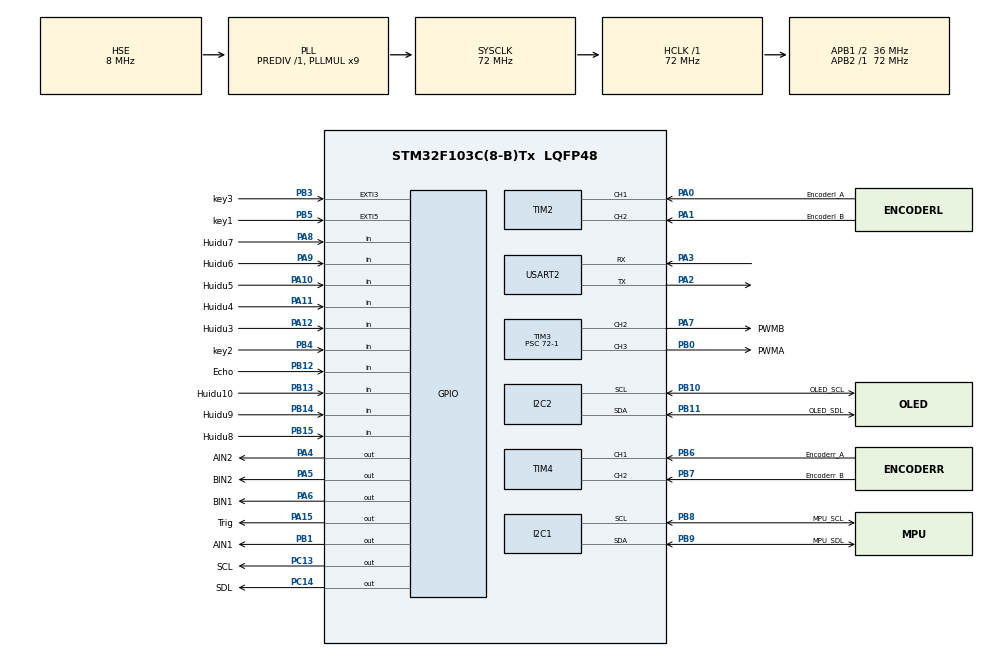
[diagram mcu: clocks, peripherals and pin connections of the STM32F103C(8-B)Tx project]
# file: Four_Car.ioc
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Dma.Request0=USART2_RX
Dma.Request1=USART2_TX
Dma.USART2_RX.0.Direction=DMA_PERIPH_TO_MEMORY
Dma.USART2_RX.0.Instance=DMA1_Channel6
Dma.USART2_RX.0.MemDataAlignment=DMA_MDATAALIGN_BYTE
Dma.USART2_RX.0.MemInc=DMA_MINC_ENABLE
Dma.USART2_RX.0.Mode=DMA_NORMAL
Dma.USART2_RX.0.PeriphDataAlignment=DMA_PDATAALIGN_BYTE
Dma.USART2_RX.0.PeriphInc=DMA_PINC_DISABLE
Dma.USART2_RX.0.Priority=DMA_PRIORITY_LOW
Dma.USART2_TX.1.Direction=DMA_MEMORY_TO_PERIPH
Dma.USART2_TX.1.Instance=DMA1_Channel7
Dma.USART2_TX.1.MemDataAlignment=DMA_MDATAALIGN_BYTE
Dma.USART2_TX.1.MemInc=DMA_MINC_ENABLE
Dma.USART2_TX.1.Mode=DMA_NORMAL
Dma.USART2_TX.1.PeriphDataAlignment=DMA_PDATAALIGN_BYTE
Dma.USART2_TX.1.PeriphInc=DMA_PINC_DISABLE
Dma.USART2_TX.1.Priority=DMA_PRIORITY_LOW
I2C1.I2C_Mode=I2C_Fast
I2C2.I2C_Mode=I2C_Fast
Mcu.Family=STM32F1
Mcu.Name=STM32F103C(8-B)Tx
Mcu.Package=LQFP48
NVIC.DMA1_Channel6_IRQn=true\:0\:0\:false\:false\:true\:false\:true\:true
NVIC.DMA1_Channel7_IRQn=true\:0\:0\:false\:false\:true\:false\:true\:true
NVIC.EXTI3_IRQn=true\:0\:0\:false\:false\:true\:true\:true\:true
NVIC.EXTI9_5_IRQn=true\:0\:0\:false\:false\:true\:true\:true\:true
NVIC.PriorityGroup=NVIC_PRIORITYGROUP_4
NVIC.TIM1_UP_IRQn=true\:0\:0\:false\:false\:true\:true\:true\:true
NVIC.USART2_IRQn=true\:0\:0\:false\:false\:true\:true\:true\:true
PA0-WKUP.GPIO_Label=Encoderl_A
PA0-WKUP.Signal=S_TIM2_CH1_ETR
PA1.GPIO_Label=Encoderl_B
PA1.Signal=S_TIM2_CH2
PA10.GPIO_Label=Huidu5
PA10.GPIO_PuPd=GPIO_PULLUP
PA10.Signal=GPIO_Input
PA11.GPIO_Label=Huidu4
PA11.GPIO_PuPd=GPIO_PULLUP
PA11.Signal=GPIO_Input
PA12.GPIO_Label=Huidu3
PA12.GPIO_PuPd=GPIO_PULLUP
PA12.Signal=GPIO_Input
PA13.Mode=Serial_Wire
PA13.Signal=SYS_JTMS-SWDIO
PA14.Mode=Serial_Wire
PA14.Signal=SYS_JTCK-SWCLK
PA15.GPIO_Label=Trig
PA15.Signal=GPIO_Output
PA2.Mode=Asynchronous
PA2.Signal=USART2_TX
PA3.Mode=Asynchronous
PA3.Signal=USART2_RX
PA4.GPIO_Label=AIN2
PA4.Signal=GPIO_Output
PA5.GPIO_Label=BIN2
PA5.Signal=GPIO_Output
PA6.GPIO_Label=BIN1
PA6.Signal=GPIO_Output
PA7.GPIO_Label=PWMB
PA7.Signal=S_TIM3_CH2
PA8.GPIO_Label=Huidu7
PA8.GPIO_PuPd=GPIO_PULLUP
PA8.Signal=GPIO_Input
PA9.GPIO_Label=Huidu6
PA9.GPIO_PuPd=GPIO_PULLUP
PA9.Signal=GPIO_Input
PB0.GPIO_Label=PWMA
PB0.Signal=S_TIM3_CH3
PB1.GPIO_Label=AIN1
PB1.Signal=GPIO_Output
PB10.GPIO_Label=OLED_SCL
PB10.Mode=I2C
PB10.Signal=I2C2_SCL
PB11.GPIO_Label=OLED_SDL
PB11.Mode=I2C
PB11.Signal=I2C2_SDA
PB12.GPIO_Label=Echo
PB12.Signal=GPIO_Input
PB13.GPIO_Label=Huidu10
PB13.GPIO_PuPd=GPIO_PULLUP
PB13.Signal=GPIO_Input
PB14.GPIO_Label=Huidu9
PB14.GPIO_PuPd=GPIO_PULLUP
PB14.Signal=GPIO_Input
PB15.GPIO_Label=Huidu8
PB15.GPIO_PuPd=GPIO_PULLUP
PB15.Signal=GPIO_Input
PB3.GPIO_Label=key3
PB3.GPIO_ModeDefaultEXTI=GPIO_MODE_IT_FALLING
PB3.GPIO_PuPd=GPIO_PULLUP
PB3.Signal=GPXTI3
PB4.GPIO_Label=key2
PB4.GPIO_PuPd=GPIO_PULLUP
PB4.Signal=GPIO_Input
PB5.GPIO_Label=key1
PB5.GPIO_ModeDefaultEXTI=GPIO_MODE_IT_FALLING
PB5.GPIO_PuPd=GPIO_PULLUP
PB5.Signal=GPXTI5
PB6.GPIO_Label=Encoderr_A
PB6.Signal=S_TIM4_CH1
PB7.GPIO_Label=Encoderr_B
PB7.Signal=S_TIM4_CH2
PB8.GPIO_Label=MPU_SCL
PB8.Mode=I2C
PB8.Signal=I2C1_SCL
PB9.GPIO_Label=MPU_SDL
PB9.Mode=I2C
PB9.Signal=I2C1_SDA
PC13-TAMPER-RTC.GPIO_Label=SCL
PC13-TAMPER-RTC.Signal=GPIO_Output
PC14-OSC32_IN.GPIO_Label=SDL
PC14-OSC32_IN.Signal=GPIO_Output
PD0-OSC_IN.Mode=HSE-External-Oscillator
PD0-OSC_IN.Signal=RCC_OSC_IN
PD1-OSC_OUT.Mode=HSE-External-Oscillator
PD1-OSC_OUT.Signal=RCC_OSC_OUT
ProjectManager.HeapSize=0x200
ProjectManager.StackSize=0x400
ProjectManager.TargetToolchain=CMake
RCC.AHBFreq_Value=72000000
RCC.APB1CLKDivider=RCC_HCLK_DIV2
RCC.APB1Freq_Value=36000000
RCC.APB1TimFreq_Value=72000000
RCC.APB2Freq_Value=72000000
RCC.APB2TimFreq_Value=72000000
RCC.HCLKFreq_Value=72000000
RCC.PLLMUL=RCC_PLL_MUL9
RCC.PLLSourceVirtual=RCC_PLLSOURCE_HSE
RCC.SYSCLKFreq_VALUE=72000000
RCC.SYSCLKSource=RCC_SYSCLKSOURCE_PLLCLK
RCC.USBFreq_Value=72000000
SH.S_TIM2_CH1_ETR.0=TIM2_CH1,Encoder_Interface
SH.S_TIM2_CH2.0=TIM2_CH2,Encoder_Interface
SH.S_TIM3_CH2.0=TIM3_CH2,PWM Generation2 CH2
SH.S_TIM3_CH3.0=TIM3_CH3,PWM Generation3 CH3
SH.S_TIM4_CH1.0=TIM4_CH1,Encoder_Interface
SH.S_TIM4_CH2.0=TIM4_CH2,Encoder_Interface
TIM1.Period=1000-1
TIM1.Prescaler=72-1
TIM2.IC1Filter=15
TIM2.IC1Polarity=TIM_ICPOLARITY_FALLING
TIM2.IC2Filter=15
TIM3.Channel-PWM\ Generation2\ CH2=TIM_CHANNEL_2
TIM3.Channel-PWM\ Generation3\ CH3=TIM_CHANNEL_3
TIM3.Period=100-1
TIM3.Prescaler=72-1
TIM4.IC1Filter=15
TIM4.IC2Filter=15
USART2.VirtualMode=VM_ASYNC
VP_TIM1_VS_ClockSourceINT.Mode=Internal
VP_TIM3_VS_ClockSourceINT.Mode=Internal
board=custom

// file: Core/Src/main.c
/* USER CODE BEGIN Header */
/**
  ******************************************************************************
  * @file           : main.c
  * @brief          : Main program body
  ******************************************************************************
  * @attention
  *
  * Copyright (c) 2026 STMicroelectronics.
  * All rights reserved.
  *
  * This software is licensed under terms that can be found in the LICENSE file
  * in the root directory of this software component.
  * If no LICENSE file comes with this software, it is provided AS-IS.
  *
  ******************************************************************************
  */
/* USER CODE END Header */
#include "main.h"
#include "dma.h"
#include "i2c.h"
#include "tim.h"
#include "usart.h"
#include "gpio.h"

/* USER CODE BEGIN Includes */
#include "oled.h"
#include <stdint.h>
#include <stdio.h>
#include "motor.h"
#include "hcsr04.h"
#include <string.h>
#include <sys/_intsup.h>
#include "encoder.h"
#include "pid.h"
#include "mpu6050.h"
#include "control.h"
#include "track.h"
/* USER CODE END Includes */

/* USER CODE BEGIN PV */
char Receivedata[50];
int16_t x_error=0;
int16_t y_error=0;
void HAL_UARTEx_RxEventCallback(UART_HandleTypeDef *huart, uint16_t Size)
{
  if(huart == &huart2){

    sscanf(Receivedata, "$%hd,%hd*", &x_error, &y_error);

    HAL_UART_Transmit_DMA(&huart2, (uint8_t *)Receivedata, Size);
    HAL_UARTEx_ReceiveToIdle_DMA(&huart2, (uint8_t *)Receivedata, sizeof(Receivedata));
  }
}
/* USER CODE END PV */

void SystemClock_Config(void);

/* USER CODE BEGIN 0 */
pid_t pid_left, pid_right,pid_angle,pid_track; // 声明全局变量
char mpu_data[80];
/* USER CODE END 0 */

int main(void)
{

  /* MCU Configuration--------------------------------------------------------*/

  /* Reset of all peripherals, Initializes the Flash interface and the Systick. */
  HAL_Init();

  /* Configure the system clock */
  SystemClock_Config();

  /* Initialize all configured peripherals */
  MX_GPIO_Init();
  MX_DMA_Init();
  MX_I2C1_Init();
  MX_I2C2_Init();
  MX_TIM2_Init();
  MX_TIM3_Init();
  MX_TIM4_Init();
  MX_USART2_UART_Init();
  MX_TIM1_Init();
  /* USER CODE BEGIN 2 */
  HAL_Delay(20);
  OLED_Init();
  motor_init();
  encoder_init();
  mpu_init();
  track_init();
  HAL_UARTEx_ReceiveToIdle_DMA(&huart2, (uint8_t *)Receivedata, sizeof(Receivedata));
  pid_init(&pid_left,0.6f, 0.65f, 0.0f, 0.0f, -1000.0f, 1000.0f);//800时，1.9%误差，误差与速度成正比
  pid_init(&pid_right, 0.6f, 0.65f, 0.0f,100.0f, -1000.0f, 1000.0f);
  //20ms,单独调，Kp=1.4,Kd=0.0f  比较完美。10ms,kp=0.6~0.8,ki=0.6~0.72,kd=0.0f
  pid_init(&pid_angle, 0.9f, 0.7f, 1.5f,0.0f, -800.0f, 800.0f);//转向环pid,目标值是期望速度差，十倍关系,+为期望右转
  //50ms,单独调，Kp=3.8,Kd=2.0f  比较完美。，10ms,单独转向环kp1.0,ki0.0f,kd0.2f
  //50ms,并联速度环kp8.0,ki1.0f,kd1.4f，10ms并联速度环0.9f, 0.7f, 1.5f

  pid_init(&pid_track,50.0f, 0.0f, 5.0f, 0.0f, -800.0f, 800.0f);//循迹环pid,目标值是车头前横向距离差

  char message[50];
  char message1[50];
  char message2[50];
  char message3[50];
  control_init();
  /* USER CODE END 2 */

  /* Infinite loop */
  /* USER CODE BEGIN WHILE */
  while (1)
  {

    // if(count_period-last_30ms>=20){//每20ms计算一次速度环
    //   last_30ms= count_period;  // Store the current count_period value
    //   last_encoder_countl=now_encoder_countl;
    //   now_encoder_countl= __HAL_TIM_GET_COUNTER(&htim2);
    //   last_encoder_countr=now_encoder_countr;
    //   now_encoder_countr= __HAL_TIM_GET_COUNTER(&htim4);
    //     /* 计算实际速度，单位为 mm/s. 使用 M_PI 常量 */
    //   speed_lpm = (float)((int32_t)now_encoder_countl - (int32_t)last_encoder_countl) * 65.0f * (float)M_PI / 728.0f / 0.03f;
    //   speed_rpm = (float)((int32_t)now_encoder_countr - (int32_t)last_encoder_countr) * 65.0f * (float)M_PI / 728.0f / 0.03f;
    //   left_speed_output=pid_calc(&pid_left, speed_lpm);
    //   right_speed_output=pid_calc(&pid_right, speed_rpm);
    //   L_output=left_speed_output+z_angle_output;
    //   R_output=right_speed_output-z_angle_output;
    //   motor_setlefrightspeed((int16_t)left_speed_output, (int16_t)right_speed_output);

    // }
    // if(count_period-last_50ms>=50){//每50ms计算一次转向环和循迹环
    //   last_50ms= count_period;  // Store the current count_period value
    //   speed_difference = speed_lpm - speed_rpm;//差速转向环，不依赖起始位置，粗略转向
    //   z_angle_output = pid_calc(&pid_angle, speed_difference);

    //   // navigate();
    //   // z_angle_output = pid_calc(&pid_angle, angle_z);//差角转向环,精确角度转向

    //  }

      sprintf(message, "speedl: %d", (int)speed_lpm);
      sprintf(message1, "speedr: %d", (int)speed_rpm);
      sprintf(message2, "dis: %d", (int)distance);
      sprintf(message3, "dis_turn: %d", (int)dis_turn);
      OLED_NewFrame();
      OLED_PrintASCIIString(0, 0, message, &afont8x6, OLED_COLOR_NORMAL);
      OLED_PrintASCIIString(0, 16, message1, &afont8x6, OLED_COLOR_NORMAL);
      OLED_PrintASCIIString(0, 32, message2, &afont8x6, OLED_COLOR_NORMAL);
      OLED_PrintASCIIString(0, 48, message3, &afont8x6, OLED_COLOR_NORMAL);
      OLED_ShowFrame();
      // if(lost_line){
      //   motor_stop(MOTOR_LEFT);
      //   motor_stop(MOTOR_RIGHT);
      //   HAL_TIM_Base_Stop_IT(&htim1);

      // }

    /* USER CODE END WHILE */

  }
}

void SystemClock_Config(void)
{
  RCC_OscInitTypeDef RCC_OscInitStruct = {0};
  RCC_ClkInitTypeDef RCC_ClkInitStruct = {0};

  /** Initializes the RCC Oscillators according to the specified parameters
  * in the RCC_OscInitTypeDef structure.
  */
  RCC_OscInitStruct.OscillatorType = RCC_OSCILLATORTYPE_HSE;
  RCC_OscInitStruct.HSEState = RCC_HSE_ON;
  RCC_OscInitStruct.HSEPredivValue = RCC_HSE_PREDIV_DIV1;
  RCC_OscInitStruct.HSIState = RCC_HSI_ON;
  RCC_OscInitStruct.PLL.PLLState = RCC_PLL_ON;
  RCC_OscInitStruct.PLL.PLLSource = RCC_PLLSOURCE_HSE;
  RCC_OscInitStruct.PLL.PLLMUL = RCC_PLL_MUL9;
  if (HAL_RCC_OscConfig(&RCC_OscInitStruct) != HAL_OK)
  {
    Error_Handler();
  }

  /** Initializes the CPU, AHB and APB buses clocks
  */
  RCC_ClkInitStruct.ClockType = RCC_CLOCKTYPE_HCLK|RCC_CLOCKTYPE_SYSCLK
                              |RCC_CLOCKTYPE_PCLK1|RCC_CLOCKTYPE_PCLK2;
  RCC_ClkInitStruct.SYSCLKSource = RCC_SYSCLKSOURCE_PLLCLK;
  RCC_ClkInitStruct.AHBCLKDivider = RCC_SYSCLK_DIV1;
  RCC_ClkInitStruct.APB1CLKDivider = RCC_HCLK_DIV2;
  RCC_ClkInitStruct.APB2CLKDivider = RCC_HCLK_DIV1;

  if (HAL_RCC_ClockConfig(&RCC_ClkInitStruct, FLASH_LATENCY_2) != HAL_OK)
  {
    Error_Handler();
  }
}

void Error_Handler(void)
{
  __disable_irq();
  while (1)
  {
  }
}
